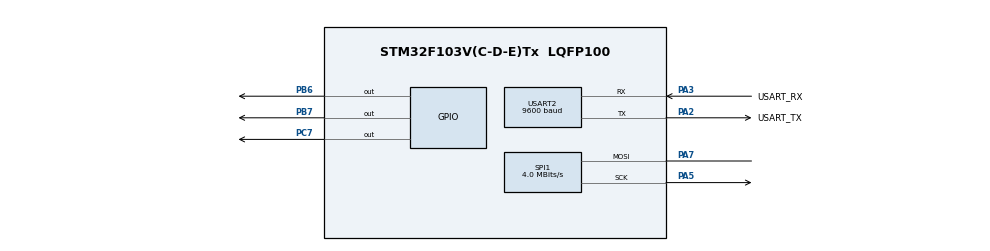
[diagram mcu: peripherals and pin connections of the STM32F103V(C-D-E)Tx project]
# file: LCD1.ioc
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Mcu.Family=STM32F1
Mcu.Name=STM32F103V(C-D-E)Tx
Mcu.Package=LQFP100
NVIC.PriorityGroup=NVIC_PRIORITYGROUP_4
OSC_IN.Mode=HSE-External-Oscillator
OSC_IN.Signal=RCC_OSC_IN
OSC_OUT.Mode=HSE-External-Oscillator
OSC_OUT.Signal=RCC_OSC_OUT
PA13.Mode=Serial_Wire
PA13.Signal=SYS_JTMS-SWDIO
PA14.Mode=Serial_Wire
PA14.Signal=SYS_JTCK-SWCLK
PA2.GPIO_Label=USART_TX
PA2.Mode=Asynchronous
PA2.Signal=USART2_TX
PA3.GPIO_Label=USART_RX
PA3.GPIO_PuPd=GPIO_PULLUP
PA3.Mode=Asynchronous
PA3.Signal=USART2_RX
PA5.Mode=Simplex_Bidirectional_Master
PA5.Signal=SPI1_SCK
PA7.Mode=Simplex_Bidirectional_Master
PA7.Signal=SPI1_MOSI
PB6.Signal=GPIO_Output
PB7.Signal=GPIO_Output
PC14-OSC32_IN.Mode=LSE-External-Oscillator
PC14-OSC32_IN.Signal=RCC_OSC32_IN
PC15-OSC32_OUT.Mode=LSE-External-Oscillator
PC15-OSC32_OUT.Signal=RCC_OSC32_OUT
PC7.Signal=GPIO_Output
ProjectManager.HeapSize=0x200
ProjectManager.StackSize=0x400
ProjectManager.TargetToolchain=MDK-ARM V5
RCC.APB1Freq_Value=8000000
RCC.APB2Freq_Value=8000000
SPI1.CalculateBaudRate=4.0 MBits/s
SPI1.Direction=SPI_DIRECTION_1LINE
SPI1.Mode=SPI_MODE_MASTER
SPI1.VirtualType=VM_MASTER
USART2.BaudRate=9600
USART2.VirtualMode=VM_ASYNC
board=custom

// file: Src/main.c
/* USER CODE BEGIN Header */
/**
  ******************************************************************************
  * @file           : main.c
  * @brief          : Main program body
  ******************************************************************************
  * @attention
  *
  * <h2><center>&copy; Copyright (c) 2020 STMicroelectronics.
  * All rights reserved.</center></h2>
  *
  * This software component is licensed by ST under BSD 3-Clause license,
  * the "License"; You may not use this file except in compliance with the
  * License. You may obtain a copy of the License at:
  *                        opensource.org/licenses/BSD-3-Clause
  *
  ******************************************************************************
  */
/* USER CODE END Header */

#include "main.h"

/* USER CODE BEGIN Includes */
#include <string.h>
#include "st7735.h"
#include "fonts.h"
#include "testimg.h"
/* USER CODE END Includes */

/* USER CODE BEGIN PD */
//Transfer GuiLite 32 bits color to your LCD color
#define GL_RGB_32_to_16(rgb) (((((unsigned int)(rgb)) & 0xFF) >> 3) | ((((unsigned int)(rgb)) & 0xFC00) >> 5) | ((((unsigned int)(rgb)) & 0xF80000) >> 8))
/* USER CODE END PD */

SPI_HandleTypeDef hspi1;

UART_HandleTypeDef huart2;

void SystemClock_Config(void);
static void MX_GPIO_Init(void);
static void MX_USART2_UART_Init(void);
static void MX_SPI1_Init(void);

/* USER CODE BEGIN 0 */
void init() {
    ST7735_Init();

    const char ready[] = "Ready!\r\n";
    HAL_UART_Transmit(&huart2, (uint8_t*)ready, sizeof(ready)-1, HAL_MAX_DELAY);
}
//Encapsulate your LCD driver:
void gfx_draw_pixel(int x, int y, unsigned int rgb)
{
	ST7735_DrawPixel(x, y, GL_RGB_32_to_16(rgb));
}
//Implement it, if you have more fast solution than drawing pixels one by one.
//void gfx_fill_rect(int x0, int y0, int x1, int y1, unsigned int rgb){}
void delay_ms(void){
  HAL_Delay(200);
}
struct EXTERNAL_GFX_OP
{
	void (*draw_pixel)(int x, int y, unsigned int rgb);
	void (*fill_rect)(int x0, int y0, int x1, int y1, unsigned int rgb);
} my_gfx_op;
extern void startHello3Dwave(void* phy_fb, int width, int height, int color_bytes, struct EXTERNAL_GFX_OP* gfx_op);

/* USER CODE END 0 */

int main(void)
{

  /* MCU Configuration--------------------------------------------------------*/

  /* Reset of all peripherals, Initializes the Flash interface and the Systick. */
  HAL_Init();

  /* Configure the system clock */
  SystemClock_Config();

  /* Initialize all configured peripherals */
  MX_GPIO_Init();
  MX_USART2_UART_Init();
  MX_SPI1_Init();

  /* Infinite loop */
  /* USER CODE BEGIN WHILE */
	delay_ms();
	init();
	//Link your LCD driver & start UI:
	my_gfx_op.draw_pixel = gfx_draw_pixel;
	my_gfx_op.fill_rect = NULL;//gfx_fill_rect;
	startHello3Dwave(NULL, 240, 320, 2, &my_gfx_op);
  while (1)
  {
    /* USER CODE END WHILE */

  }
}

void SystemClock_Config(void)
{
  RCC_OscInitTypeDef RCC_OscInitStruct = {0};
  RCC_ClkInitTypeDef RCC_ClkInitStruct = {0};

  /** Initializes the CPU, AHB and APB busses clocks
  */
  RCC_OscInitStruct.OscillatorType = RCC_OSCILLATORTYPE_HSI;
  RCC_OscInitStruct.HSIState = RCC_HSI_ON;
  RCC_OscInitStruct.HSICalibrationValue = RCC_HSICALIBRATION_DEFAULT;
  RCC_OscInitStruct.PLL.PLLState = RCC_PLL_NONE;
  if (HAL_RCC_OscConfig(&RCC_OscInitStruct) != HAL_OK)
  {
    Error_Handler();
  }
  /** Initializes the CPU, AHB and APB busses clocks
  */
  RCC_ClkInitStruct.ClockType = RCC_CLOCKTYPE_HCLK|RCC_CLOCKTYPE_SYSCLK
                              |RCC_CLOCKTYPE_PCLK1|RCC_CLOCKTYPE_PCLK2;
  RCC_ClkInitStruct.SYSCLKSource = RCC_SYSCLKSOURCE_HSI;
  RCC_ClkInitStruct.AHBCLKDivider = RCC_SYSCLK_DIV1;
  RCC_ClkInitStruct.APB1CLKDivider = RCC_HCLK_DIV1;
  RCC_ClkInitStruct.APB2CLKDivider = RCC_HCLK_DIV1;

  if (HAL_RCC_ClockConfig(&RCC_ClkInitStruct, FLASH_LATENCY_0) != HAL_OK)
  {
    Error_Handler();
  }
}

static void MX_SPI1_Init(void)
{

  /* SPI1 parameter configuration*/
  hspi1.Instance = SPI1;
  hspi1.Init.Mode = SPI_MODE_MASTER;
  hspi1.Init.Direction = SPI_DIRECTION_1LINE;
  hspi1.Init.DataSize = SPI_DATASIZE_8BIT;
  hspi1.Init.CLKPolarity = SPI_POLARITY_LOW;
  hspi1.Init.CLKPhase = SPI_PHASE_1EDGE;
  hspi1.Init.NSS = SPI_NSS_SOFT;
  hspi1.Init.BaudRatePrescaler = SPI_BAUDRATEPRESCALER_2;
  hspi1.Init.FirstBit = SPI_FIRSTBIT_MSB;
  hspi1.Init.TIMode = SPI_TIMODE_DISABLE;
  hspi1.Init.CRCCalculation = SPI_CRCCALCULATION_DISABLE;
  hspi1.Init.CRCPolynomial = 10;
  if (HAL_SPI_Init(&hspi1) != HAL_OK)
  {
    Error_Handler();
  }

}

static void MX_USART2_UART_Init(void)
{

  huart2.Instance = USART2;
  huart2.Init.BaudRate = 9600;
  huart2.Init.WordLength = UART_WORDLENGTH_8B;
  huart2.Init.StopBits = UART_STOPBITS_1;
  huart2.Init.Parity = UART_PARITY_NONE;
  huart2.Init.Mode = UART_MODE_TX_RX;
  huart2.Init.HwFlowCtl = UART_HWCONTROL_NONE;
  huart2.Init.OverSampling = UART_OVERSAMPLING_16;
  if (HAL_UART_Init(&huart2) != HAL_OK)
  {
    Error_Handler();
  }

}

static void MX_GPIO_Init(void)
{
  GPIO_InitTypeDef GPIO_InitStruct = {0};

  /* GPIO Ports Clock Enable */
  __HAL_RCC_GPIOC_CLK_ENABLE();
  __HAL_RCC_GPIOA_CLK_ENABLE();
  __HAL_RCC_GPIOB_CLK_ENABLE();

  /*Configure GPIO pin Output Level */
  HAL_GPIO_WritePin(GPIOC, GPIO_PIN_7, GPIO_PIN_RESET);

  /*Configure GPIO pin Output Level */
  HAL_GPIO_WritePin(GPIOB, GPIO_PIN_6|GPIO_PIN_7, GPIO_PIN_RESET);

  /*Configure GPIO pin : PC7 */
  GPIO_InitStruct.Pin = GPIO_PIN_7;
  GPIO_InitStruct.Mode = GPIO_MODE_OUTPUT_PP;
  GPIO_InitStruct.Pull = GPIO_NOPULL;
  GPIO_InitStruct.Speed = GPIO_SPEED_FREQ_LOW;
  HAL_GPIO_Init(GPIOC, &GPIO_InitStruct);

  /*Configure GPIO pins : PB6 PB7 */
  GPIO_InitStruct.Pin = GPIO_PIN_6|GPIO_PIN_7;
  GPIO_InitStruct.Mode = GPIO_MODE_OUTPUT_PP;
  GPIO_InitStruct.Pull = GPIO_NOPULL;
  GPIO_InitStruct.Speed = GPIO_SPEED_FREQ_LOW;
  HAL_GPIO_Init(GPIOB, &GPIO_InitStruct);

}

void Error_Handler(void)
{
}

/************************ (C) COPYRIGHT STMicroelectronics *****END OF FILE****/
